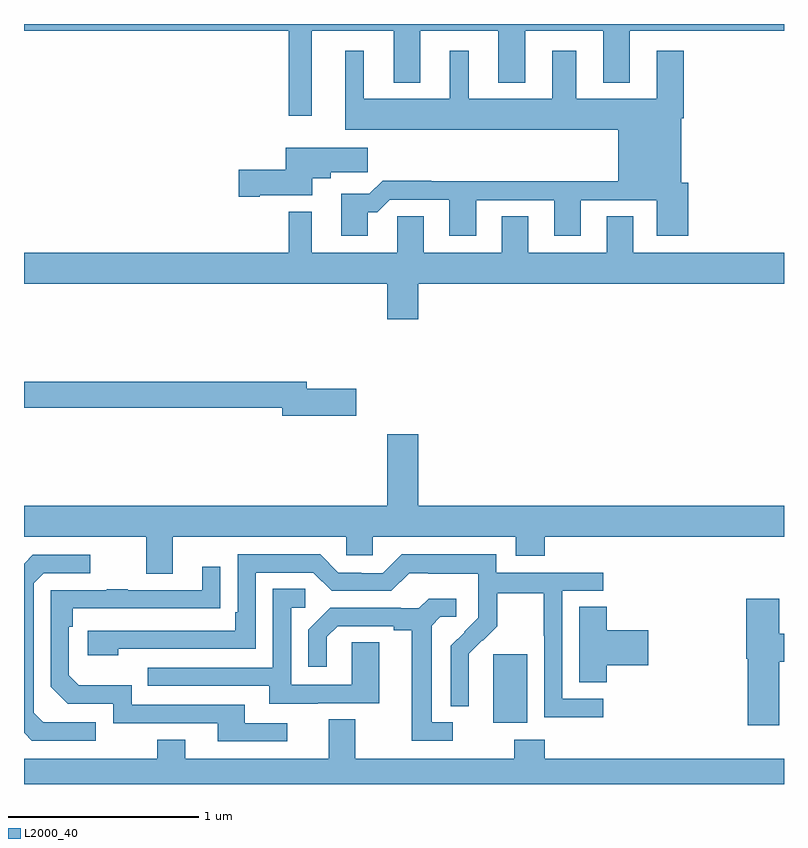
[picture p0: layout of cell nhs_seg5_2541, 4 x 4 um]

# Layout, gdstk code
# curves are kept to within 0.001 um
import gdstk
lib = gdstk.Library(unit=1e-6, precision=1e-09)
def R(c, l, rs):  # rectangles x0, y0, x1, y1
    for r in rs: c.add(gdstk.rectangle(r[:2], r[2:], *l))
def P(c, l, *ps):  # polygons
    for p in ps: c.add(gdstk.Polygon(p, *l))
L2000_40 = (2000, 40)

nhs_seg5_2541 = lib.new_cell('nhs_seg5_2541')
R(nhs_seg5_2541, L2000_40, [(261.47,849.122,261.649,849.483)])
P(nhs_seg5_2541, L2000_40, [(260.515,852.764),(260.945,852.764),(260.945,852.491),(261.085,852.491),(261.085,852.764),(261.497,852.764),(261.497,852.491),(261.637,852.491),(261.637,852.764),(262.049,852.764),(262.049,852.491),(262.189,852.491),(262.189,852.764),(263,852.764),(263,852.799),(259,852.799),(259,852.764),(260.394,852.764),(260.394,852.315),(260.515,852.315)],
  [(260.809,851.807),(260.858,851.807),(260.925,851.874),(261.239,851.874),(261.239,851.685),(261.379,851.685),(261.379,851.871),(261.791,851.871),(261.791,851.685),(261.931,851.685),(261.931,851.871),(262.331,851.871),(262.331,851.685),(262.496,851.685),(262.496,851.964),(262.459,851.964),(262.459,852.302),(262.472,852.302),(262.472,852.658),(262.331,852.658),(262.331,852.406),(261.907,852.406),(261.907,852.658),(261.779,852.658),(261.779,852.406),(261.34,852.406),(261.34,852.658),(261.242,852.658),(261.242,852.406),(260.788,852.406),(260.788,852.658),(260.69,852.658),(260.69,852.242),(262.127,852.242),(262.127,851.972),(261.143,851.972),(261.143,851.975),(260.888,851.975),(260.818,851.905),(260.669,851.905),(260.669,851.685),(260.809,851.685)],
  [(260.242,851.897),(260.518,851.897),(260.518,851.987),(260.614,851.987),(260.614,852.019),(260.809,852.019),(260.809,852.148),(260.378,852.148),(260.378,852.032),(260.13,852.032),(260.13,851.89),(260.242,851.89)],
  [(261.076,851.432),(263,851.432),(263,851.596),(262.207,851.596),(262.207,851.786),(262.067,851.786),(262.067,851.596),(261.655,851.596),(261.655,851.786),(261.515,851.786),(261.515,851.596),(261.103,851.596),(261.103,851.786),(260.964,851.786),(260.964,851.596),(260.515,851.596),(260.515,851.812),(260.394,851.812),(260.394,851.596),(259,851.596),(259,851.432),(260.912,851.432),(260.912,851.244),(261.076,851.244)],
  [(260.749,850.88),(260.488,850.88),(260.488,850.916),(259,850.916),(259,850.78),(260.36,850.78),(260.36,850.738),(260.749,850.738)],
  [(259.783,850.1),(260.697,850.1),(260.697,850.002),(260.835,850.002),(260.835,850.1),(261.587,850.1),(261.587,850.001),(261.74,850.001),(261.74,850.1),(263,850.1),(263,850.264),(261.076,850.264),(261.076,850.639),(260.912,850.639),(260.912,850.264),(259,850.264),(259,850.1),(259.643,850.1),(259.643,849.906),(259.783,849.906)],
  [(262.048,849.249),(261.834,849.249),(261.834,849.816),(262.048,849.816),(262.048,849.912),(261.486,849.912),(261.486,850.009),(260.989,850.009),(260.889,849.909),(260.774,849.909),(260.774,849.912),(260.655,849.912),(260.559,850.008),(260.124,850.008),(260.124,849.703),(260.111,849.703),(260.111,849.606),(259.335,849.606),(259.335,849.476),(259.496,849.476),(259.496,849.51),(260.22,849.51),(260.22,849.912),(260.523,849.912),(260.619,849.816),(260.934,849.816),(261.027,849.909),(261.127,849.909),(261.127,849.905),(261.39,849.905),(261.39,849.771),(261.392,849.771),(261.392,849.674),(261.246,849.526),(261.246,849.208),(261.342,849.208),(261.341,849.485),(261.411,849.555),(261.414,849.552),(261.491,849.629),(261.491,849.804),(261.736,849.804),(261.736,849.58),(261.738,849.58),(261.738,849.151),(262.048,849.151)],
  [(259.378,849.123),(259.101,849.123),(259.05,849.174),(259.05,849.855),(259.104,849.909),(259.348,849.909),(259.348,850.005),(259.047,850.005),(259,849.958),(259,849.068),(259.041,849.027),(259.378,849.027)],
  [(260.386,849.12),(260.161,849.12),(260.161,849.216),(259.566,849.216),(259.566,849.319),(259.289,849.319),(259.236,849.372),(259.236,849.626),(259.256,849.626),(259.256,849.723),(260.033,849.724),(260.033,849.943),(259.937,849.943),(259.937,849.819),(259.547,849.819),(259.547,849.824),(259.435,849.824),(259.435,849.819),(259.14,849.819),(259.14,849.312),(259.23,849.222),(259.47,849.222),(259.47,849.12),(260.021,849.12),(260.021,849.024),(260.386,849.024)],
  [(260.545,849.225),(260.869,849.225),(260.869,849.545),(260.724,849.545),(260.724,849.321),(260.406,849.321),(260.406,849.726),(260.479,849.726),(260.479,849.827),(260.31,849.827),(260.31,849.411),(259.651,849.411),(259.651,849.315),(260.291,849.315),(260.291,849.221),(260.545,849.221)],
  [(261.256,849.123),(261.145,849.123),(261.145,849.631),(261.192,849.678),(261.274,849.678),(261.274,849.775),(261.13,849.775),(261.078,849.723),(260.984,849.723),(260.984,849.726),(260.612,849.726),(260.496,849.61),(260.496,849.417),(260.593,849.417),(260.593,849.573),(260.65,849.63),(260.945,849.63),(260.945,849.608),(261.041,849.608),(261.041,849.027),(261.256,849.027)],
  [(262.975,849.443),(263,849.443),(263,849.59),(262.975,849.59),(262.975,849.775),(262.802,849.775),(262.802,849.459),(262.808,849.459),(262.808,849.108),(262.975,849.108)],
  [(262.067,849.425),(262.285,849.425),(262.285,849.608),(262.067,849.608),(262.067,849.731),(261.923,849.731),(261.923,849.334),(262.067,849.334)],
  [(263,848.932),(261.74,848.932),(261.74,849.031),(261.58,849.031),(261.58,848.932),(260.743,848.932),(260.743,849.14),(260.603,849.14),(260.603,848.932),(259.849,848.932),(259.849,849.031),(259.702,849.031),(259.702,848.932),(259,848.932),(259,848.799),(263,848.799)])

lib.write_gds('nhs_seg5_2541.gds')
